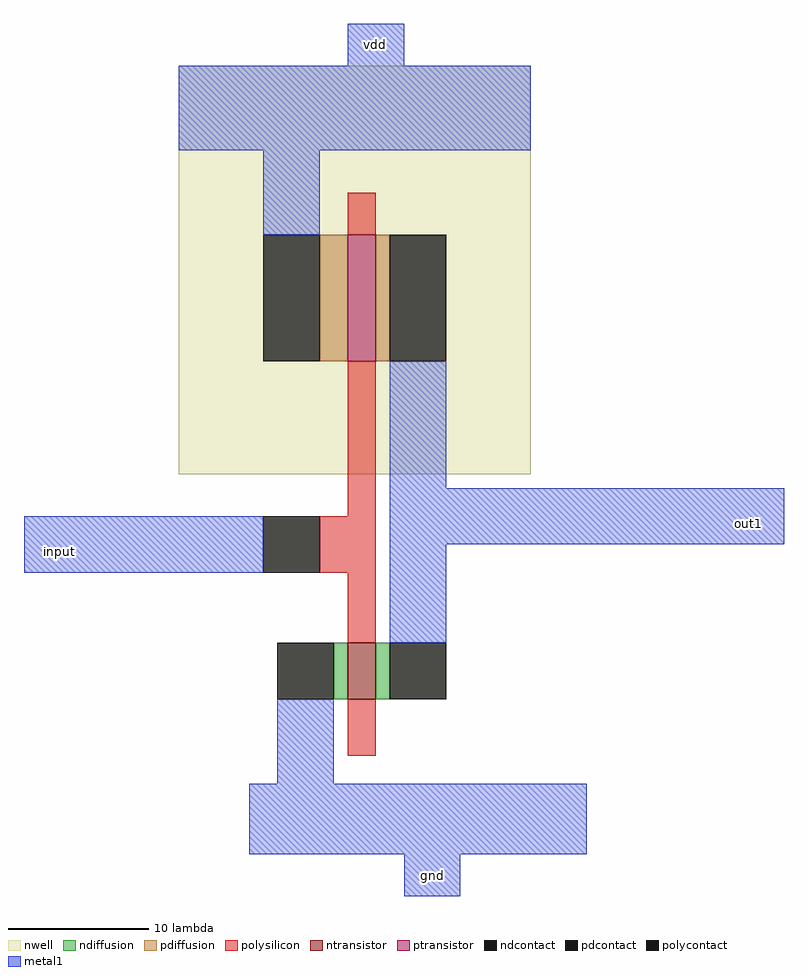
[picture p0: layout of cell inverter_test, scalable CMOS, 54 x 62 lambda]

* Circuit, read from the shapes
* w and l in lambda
.subckt inverter_test gnd input out1 vdd
M1 out1 input gnd VSUBS nfet w=4 l=2
M2 out1 input vdd n1 pfet w=9 l=2
.ends

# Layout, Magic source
magic
tech scmos
<< metal1 >>
rect 22 57 26 60
rect -1 21 10 25
rect 42 23 53 27
rect 26 -2 30 1
use inverter  inverter_0
transform 1 0 10 0 1 28
box -4 -27 36 29
<< labels >>
rlabel metal1 22 57 26 60 5 vdd
rlabel metal1 26 -2 30 1 1 gnd
rlabel metal1 -1 21 4 24 3 input
rlabel metal1 48 23 53 26 7 out1
<< end >>

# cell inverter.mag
magic
tech scmos
<< nwell >>
rect 0 0 25 29
<< ntransistor >>
rect 12 -16 14 -12
<< ptransistor >>
rect 12 8 14 17
<< ndiffusion >>
rect 11 -16 12 -12
rect 14 -16 15 -12
<< pdiffusion >>
rect 10 8 12 17
rect 14 8 15 17
<< ndcontact >>
rect 7 -16 11 -12
rect 15 -16 19 -12
<< pdcontact >>
rect 6 8 10 17
rect 15 8 19 17
<< polysilicon >>
rect 12 17 14 20
rect 12 -3 14 8
rect 10 -7 14 -3
rect 12 -12 14 -7
rect 12 -20 14 -16
<< polycontact >>
rect 6 -7 10 -3
<< metal1 >>
rect 0 23 25 29
rect 6 17 10 23
rect 15 -1 19 8
rect -4 -7 6 -3
rect 15 -5 36 -1
rect 15 -12 19 -5
rect 7 -22 11 -16
rect 5 -27 29 -22
<< end >>
